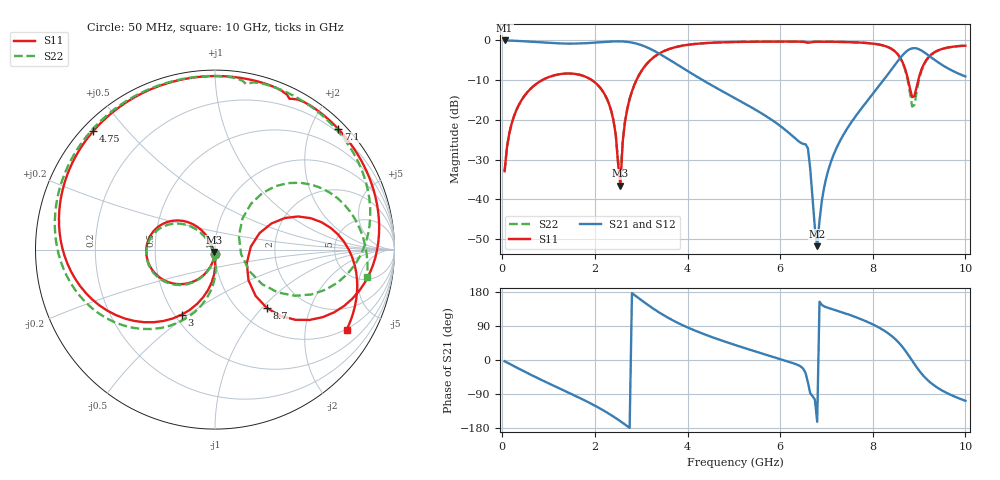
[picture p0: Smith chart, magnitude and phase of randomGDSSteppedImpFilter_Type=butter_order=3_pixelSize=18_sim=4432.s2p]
! freq	dB(S11)	phase(S11)	dB(S12)	phase(S12)
!  dB(S21)	phase(S21)	dB(S22)	phase(S22)
!S-par simulation data
#  GHz  S  DB  R 50
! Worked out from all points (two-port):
!   200 points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, 50 MHz to 10 GHz, reference 50 ohm
!   highest |S21| = -0.01 dB at 50 MHz (marker M1); lowest = -51.8 dB at 6.8 GHz (marker M2)
!   |S21| within 3 dB of the highest: start of sweep to 3.341 GHz; 8.704 GHz to 9.113 GHz (409 MHz wide, 4.59 % of centre)
!   lowest |S11| = -36.6 dB at 2.55 GHz (marker M3), VSWR 1.03, Z = 49.4 - j1.33 ohm
!   |S11| at or under -10 dB: start of sweep to 862.9 MHz; 1.933 GHz to 2.897 GHz (963.9 MHz wide, 39.9 % of centre); 8.763 GHz to 8.983 GHz (219.4 MHz wide, 2.47 % of centre)
!   |S22| runs from -34.7 to -0.3 dB; largest |S21 - S12| = 0
!   S11 on the Smith chart (normalised r, x): 50 MHz: 1.00, -0.04; 3 GHz: 0.54, -0.47; 4.75 GHz: 0.03, +0.41; 7.1 GHz: 0.14, +2.44; 8.7 GHz: 1.33, -1.07; 10 GHz: 0.97, -3.30
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0.05  -32.95 -93.1  -0.01 -3.3  -0.01 -3.3  -32.95 -93.1
0.2  -21.04 -103.5  -0.06 -13.0  -0.06 -13.0  -21.04 -103.1
0.5  -13.64 -122.9  -0.24 -31.8  -0.24 -31.8  -13.63 -121.9
1.75  -8.94 163.3  -0.73 -104.8  -0.73 -104.8  -8.94 166.9
2.3  -15.86 127.9  -0.31 -141.6  -0.31 -141.6  -15.86 133.7
2.55  -36.62 -114.4  -0.24 -161.6  -0.24 -161.6  -34.72 -120.4
2.6  -25.52 -89.1  -0.27 -165.9  -0.27 -165.9  -25.29 -89.4
2.7  -17.18 -92.1  -0.36 -174.7  -0.36 -174.7  -17.12 -89.1
3  -7.80 -117.1  -1.17 158.1  -1.17 158.1  -7.78 -112.1
3.4  -3.23 -150.4  -3.40 124.5  -3.40 124.5  -3.22 -144.1
4  -1.11 171.0  -7.71 86.0  -7.71 86.0  -1.11 179.1
4.75  -0.48 135.8  -12.80 50.9  -12.80 50.9  -0.47 146.0
5.05  -0.39 123.5  -14.72 38.7  -14.72 38.7  -0.38 134.6
6.55  -0.43 65.1  -26.17 -34.5  -26.17 -34.5  -0.42 80.7
6.7  -0.40 61.0  -39.70 -95.5  -39.70 -95.5  -0.39 77.0
6.8  -0.34 56.8  -51.83 -163.1  -51.83 -163.1  -0.33 73.0
7.1  -0.35 44.4  -30.49 135.3  -30.49 135.3  -0.34 61.3
8.35  -1.80 -19.7  -8.17 68.9  -8.17 68.9  -1.79 -1.9
8.7  -7.21 -48.4  -3.05 25.1  -3.05 25.1  -7.43 -34.2
8.85  -14.30 -23.2  -1.99 -1.6  -1.99 -1.6  -16.64 -9.5
9.15  -5.03 18.2  -3.31 -48.9  -3.31 -48.9  -5.19 42.3
10  -1.32 -31.4  -9.07 -107.7  -9.07 -107.7  -1.29 -10.3
